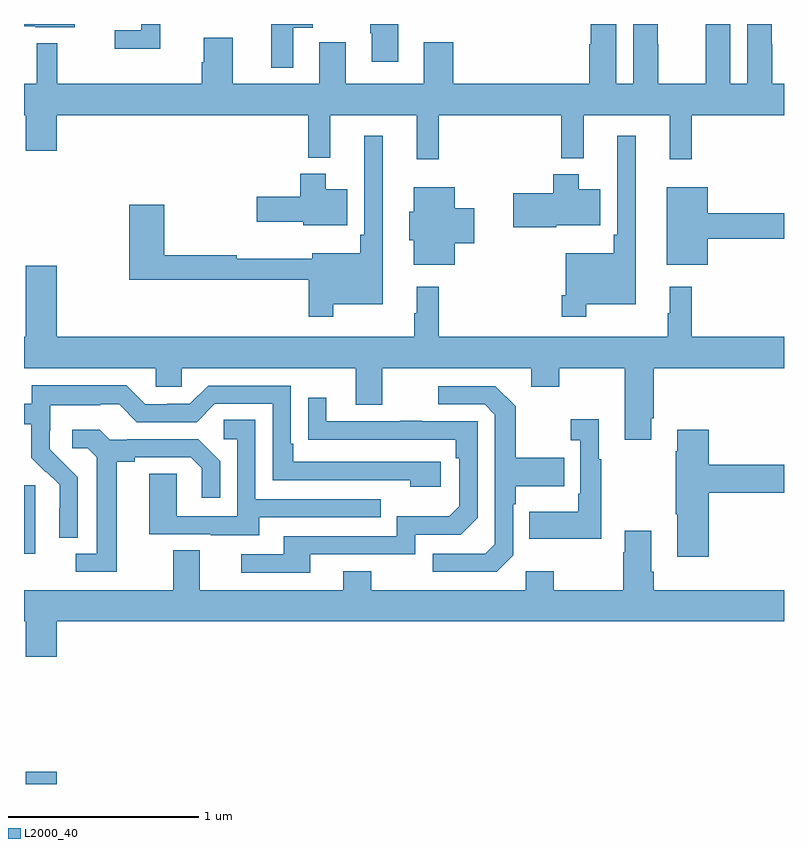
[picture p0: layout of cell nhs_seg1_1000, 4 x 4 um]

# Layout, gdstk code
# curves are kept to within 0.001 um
import gdstk
lib = gdstk.Library(unit=1e-6, precision=1e-09)
def R(c, l, rs):  # rectangles x0, y0, x1, y1
    for r in rs: c.add(gdstk.rectangle(r[:2], r[2:], *l))
def P(c, l, *ps):  # polygons
    for p in ps: c.add(gdstk.Polygon(p, *l))
L2000_40 = (2000, 40)

nhs_seg1_1000 = lib.new_cell('nhs_seg1_1000')
R(nhs_seg1_1000, L2000_40, [(165.008,560.199,165.172,560.263), (165,561.41,165.058,561.771)])
P(nhs_seg1_1000, L2000_40, [(167.183,563.72),(167.827,563.72),(167.827,563.492),(167.945,563.492),(167.945,563.72),(168.398,563.72),(168.398,563.487),(168.515,563.487),(168.515,563.72),(169,563.72),(169,563.884),(168.937,563.884),(168.937,564.092),(168.936,564.092),(168.936,564.199),(168.806,564.199),(168.806,563.884),(168.718,563.884),(168.718,564.199),(168.588,564.199),(168.588,564.092),(168.587,564.092),(168.587,563.884),(168.337,563.884),(168.337,564.092),(168.336,564.092),(168.336,564.199),(168.206,564.199),(168.206,563.884),(168.118,563.884),(168.118,564.199),(167.984,564.199),(167.984,564.092),(167.975,564.092),(167.975,563.884),(167.258,563.884),(167.258,564.103),(167.105,564.103),(167.105,563.884),(166.693,563.884),(166.693,564.103),(166.553,564.103),(166.553,563.884),(166.099,563.884),(166.099,564.127),(165.947,564.127),(165.947,563.997),(165.935,563.997),(165.935,563.884),(165.175,563.884),(165.175,564.098),(165.066,564.098),(165.066,563.884),(165,563.884),(165,563.72),(165.008,563.72),(165.008,563.532),(165.172,563.532),(165.172,563.72),(166.495,563.72),(166.495,563.495),(166.613,563.495),(166.613,563.72),(167.066,563.72),(167.066,563.487),(167.183,563.487)],
  [(166.969,564.199),(166.822,564.199),(166.822,564.15),(166.829,564.15),(166.829,564),(166.969,564)],
  [(166.417,564.178),(166.519,564.178),(166.519,564.199),(166.301,564.199),(166.301,563.97),(166.417,563.97)],
  [(165.266,564.199),(165,564.199),(165,564.186),(165.058,564.186),(165.058,564.183),(165.266,564.183)],
  [(165.717,564.199),(165.618,564.199),(165.618,564.166),(165.477,564.166),(165.477,564.068),(165.717,564.068)],
  [(166.627,562.724),(166.888,562.724),(166.888,563.611),(166.791,563.611),(166.791,563.089),(166.771,563.089),(166.771,562.993),(166.517,562.993),(166.517,562.964),(166.121,562.964),(166.121,562.982),(165.737,562.982),(165.737,563.248),(165.554,563.248),(165.554,562.854),(166.498,562.854),(166.498,562.659),(166.627,562.659)],
  [(167.959,562.724),(168.22,562.724),(168.22,563.611),(168.123,563.611),(168.123,563.089),(168.103,563.089),(168.103,562.993),(167.85,562.993),(167.85,562.771),(167.83,562.771),(167.83,562.659),(167.959,562.659)],
  [(166.702,563.329),(166.588,563.329),(166.588,563.41),(166.454,563.41),(166.454,563.289),(166.224,563.289),(166.224,563.159),(166.47,563.159),(166.47,563.141),(166.702,563.141)],
  [(167.802,563.141),(168.034,563.141),(168.034,563.329),(167.92,563.329),(167.92,563.407),(167.786,563.407),(167.786,563.307),(167.574,563.307),(167.574,563.129),(167.802,563.129)],
  [(167.266,563.045),(167.371,563.045),(167.371,563.228),(167.266,563.228),(167.266,563.341),(167.051,563.341),(167.051,563.211),(167.027,563.211),(167.027,563.061),(167.051,563.061),(167.051,562.931),(167.266,562.931)],
  [(168.598,563.068),(169,563.068),(169,563.204),(168.598,563.204),(168.598,563.341),(168.383,563.341),(168.383,562.931),(168.598,562.931)],
  [(168.301,562.123),(168.314,562.123),(168.314,562.388),(169,562.388),(169,562.552),(168.515,562.552),(168.515,562.816),(168.398,562.816),(168.398,562.676),(168.387,562.676),(168.387,562.552),(167.183,562.552),(167.183,562.816),(167.066,562.816),(167.066,562.676),(167.055,562.676),(167.055,562.552),(165.172,562.552),(165.172,562.927),(165.008,562.927),(165.008,562.552),(165,562.552),(165,562.388),(165.693,562.388),(165.693,562.29),(165.831,562.29),(165.831,562.388),(166.745,562.388),(166.745,562.194),(166.885,562.194),(166.885,562.388),(167.669,562.388),(167.669,562.289),(167.817,562.289),(167.817,562.388),(168.161,562.388),(168.161,562.011),(168.301,562.011)],
  [(165.282,561.814),(165.136,561.962),(165.136,562.059),(165.138,562.059),(165.138,562.193),(165.401,562.193),(165.401,562.197),(165.501,562.197),(165.594,562.104),(165.909,562.104),(166.005,562.2),(166.308,562.2),(166.308,561.798),(167.033,561.798),(167.033,561.764),(167.194,561.764),(167.194,561.894),(166.417,561.894),(166.417,561.991),(166.404,561.991),(166.404,562.296),(165.969,562.296),(165.873,562.2),(165.755,562.2),(165.755,562.197),(165.639,562.197),(165.539,562.297),(165.042,562.297),(165.042,562.2),(165,562.2),(165,562.092),(165.037,562.092),(165.037,561.917),(165.114,561.84),(165.117,561.843),(165.188,561.773),(165.188,561.65),(165.186,561.65),(165.186,561.496),(165.282,561.496)],
  [(167.574,561.402),(167.574,561.671),(167.587,561.671),(167.587,561.767),(167.843,561.767),(167.843,561.915),(167.587,561.915),(167.587,562.187),(167.481,562.293),(167.181,562.293),(167.181,562.197),(167.424,562.197),(167.478,562.143),(167.478,561.462),(167.427,561.411),(167.151,561.411),(167.151,561.315),(167.487,561.315)],
  [(166.507,561.408),(167.058,561.408),(167.058,561.51),(167.298,561.51),(167.388,561.6),(167.388,562.107),(167.093,562.107),(167.093,562.112),(166.981,562.112),(166.981,562.107),(166.591,562.107),(166.591,562.231),(166.495,562.231),(166.495,562.012),(167.272,562.011),(167.272,561.914),(167.292,561.914),(167.292,561.66),(167.239,561.607),(166.962,561.607),(166.962,561.504),(166.367,561.504),(166.367,561.408),(166.143,561.408),(166.143,561.312),(166.507,561.312)],
  [(168.037,561.907),(168.025,561.907),(168.025,562.12),(167.877,562.12),(167.877,562.007),(167.928,562.007),(167.928,561.727),(167.916,561.727),(167.916,561.631),(167.659,561.631),(167.659,561.491),(168.037,561.491)],
  [(166.237,561.603),(166.877,561.603),(166.877,561.699),(166.218,561.699),(166.218,562.115),(166.05,562.115),(166.05,562.014),(166.122,562.014),(166.122,561.609),(165.804,561.609),(165.804,561.833),(165.659,561.833),(165.659,561.513),(165.983,561.513),(165.983,561.509),(166.237,561.509)],
  [(165.487,561.896),(165.583,561.896),(165.583,561.918),(165.878,561.918),(165.935,561.861),(165.935,561.705),(166.032,561.705),(166.032,561.898),(165.916,562.014),(165.544,562.014),(165.544,562.011),(165.45,562.011),(165.398,562.063),(165.255,562.063),(165.255,561.966),(165.336,561.966),(165.383,561.919),(165.383,561.411),(165.273,561.411),(165.273,561.315),(165.487,561.315)],
  [(168.605,561.731),(169,561.731),(169,561.878),(168.605,561.878),(168.605,562.063),(168.437,562.063),(168.437,561.95),(168.43,561.95),(168.43,561.619),(168.437,561.619),(168.437,561.396),(168.605,561.396)],
  [(165.172,561.056),(169,561.056),(169,561.22),(168.314,561.22),(168.314,561.316),(168.301,561.316),(168.301,561.532),(168.161,561.532),(168.161,561.419),(168.154,561.419),(168.154,561.22),(167.787,561.22),(167.787,561.319),(167.64,561.319),(167.64,561.22),(166.827,561.22),(166.827,561.319),(166.679,561.319),(166.679,561.22),(165.925,561.22),(165.925,561.428),(165.785,561.428),(165.785,561.22),(165,561.22),(165,561.056),(165.008,561.056),(165.008,560.868),(165.172,560.868)])

lib.write_gds('nhs_seg1_1000.gds')
